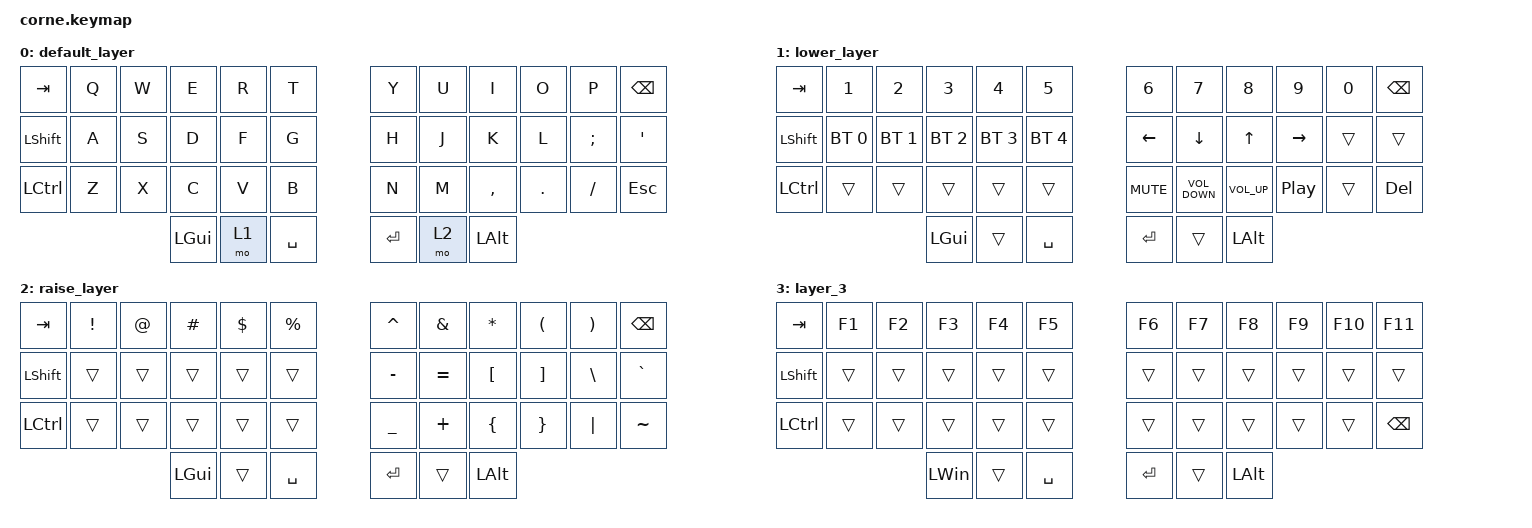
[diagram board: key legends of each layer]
/*
 * Copyright (c) 2020 The ZMK Contributors
 *
 * SPDX-License-Identifier: MIT
 */

#include <behaviors.dtsi>
#include <dt-bindings/zmk/bt.h>
#include <dt-bindings/zmk/keys.h>

/ {
    keymap {
        compatible = "zmk,keymap";

        default_layer {
            // -----------------------------------------------------------------------------------------
            // |  TAB |  Q  |  W  |  E  |  R  |  T  |   |  Y  |  U   |  I  |  O  |  P  | BSPC |
            // | CTRL |  A  |  S  |  D  |  F  |  G  |   |  H  |  J   |  K  |  L  |  ;  |  '   |
            // | SHFT |  Z  |  X  |  C  |  V  |  B  |   |  N  |  M   |  ,  |  .  |  /  | ESC  |
            //                    | GUI | LWR | SPC |   | ENT | RSE  | ALT |

            bindings = <
&kp TAB           &kp Q  &kp W  &kp E     &kp R  &kp T        &kp Y    &kp U  &kp I         &kp O    &kp P     &kp BSPC
&kp LEFT_SHIFT    &kp A  &kp S  &kp D     &kp F  &kp G        &kp H    &kp J  &kp K         &kp L    &kp SEMI  &kp SQT
&kp LEFT_CONTROL  &kp Z  &kp X  &kp C     &kp V  &kp B        &kp N    &kp M  &kp COMMA     &kp DOT  &kp FSLH  &kp ESC
                                &kp LGUI  &mo 1  &kp SPACE    &kp RET  &mo 2  &kp LEFT_ALT
            >;
        };

        lower_layer {
            // -----------------------------------------------------------------------------------------
            // |  TAB |  1  |  2  |  3  |  4  |  5  |   |  6  |  7  |  8  |  9  |  0  | BSPC |
            // | BTCLR| BT1 | BT2 | BT3 | BT4 | BT5 |   | LFT | DWN |  UP | RGT |     |      |
            // | SHFT |     |     |     |     |     |   |     |     |     |     |     |      |
            //                    | GUI |     | SPC |   | ENT |     | ALT |

            bindings = <
&kp TAB           &kp N1        &kp N2        &kp N3        &kp N4        &kp N5          &kp N6      &kp N7             &kp N8           &kp N9            &kp N0  &kp BSPC
&kp LEFT_SHIFT    &bt BT_SEL 0  &bt BT_SEL 1  &bt BT_SEL 2  &bt BT_SEL 3  &bt BT_SEL 4    &kp LEFT    &kp DOWN           &kp UP           &kp RIGHT         &trans  &trans
&kp LEFT_CONTROL  &trans        &trans        &trans        &trans        &trans          &kp C_MUTE  &kp C_VOLUME_DOWN  &kp C_VOLUME_UP  &kp C_PLAY_PAUSE  &trans  &kp DELETE
                                              &kp LGUI      &trans        &kp SPACE       &kp RET     &trans             &kp LEFT_ALT
            >;
        };

        raise_layer {
            // -----------------------------------------------------------------------------------------
            // |  TAB |  !  |  @  |  #  |  $  |  %  |   |  ^  |  &  |  *  |  (  |  )  | BSPC |
            // | CTRL |     |     |     |     |     |   |  -  |  =  |  [  |  ]  |  \  |  `   |
            // | SHFT |     |     |     |     |     |   |  _  |  +  |  {  |  }  | "|" |  ~   |
            //                    | GUI |     | SPC |   | ENT |     | ALT |

            bindings = <
&kp TAB           &kp EXCL  &kp AT  &kp HASH  &kp DLLR  &kp PRCNT    &kp CARET  &kp AMPS   &kp ASTRK     &kp LPAR  &kp RPAR  &kp BSPC
&kp LEFT_SHIFT    &trans    &trans  &trans    &trans    &trans       &kp MINUS  &kp EQUAL  &kp LBKT      &kp RBKT  &kp BSLH  &kp GRAVE
&kp LEFT_CONTROL  &trans    &trans  &trans    &trans    &trans       &kp UNDER  &kp PLUS   &kp LBRC      &kp RBRC  &kp PIPE  &kp TILDE
                                    &kp LGUI  &trans    &kp SPACE    &kp RET    &trans     &kp LEFT_ALT
            >;
        };

        layer_3 {
            bindings = <
&kp TAB    &kp F1  &kp F2  &kp F3        &kp F4  &kp F5       &kp F6     &kp F7  &kp F8        &kp F9  &kp F10  &kp F11
&kp LSHFT  &trans  &trans  &trans        &trans  &trans       &trans     &trans  &trans        &trans  &trans   &trans
&kp LCTRL  &trans  &trans  &trans        &trans  &trans       &trans     &trans  &trans        &trans  &trans   &kp BSPC
                           &kp LEFT_WIN  &trans  &kp SPACE    &kp ENTER  &trans  &kp LEFT_ALT
            >;
        };
    };
};
